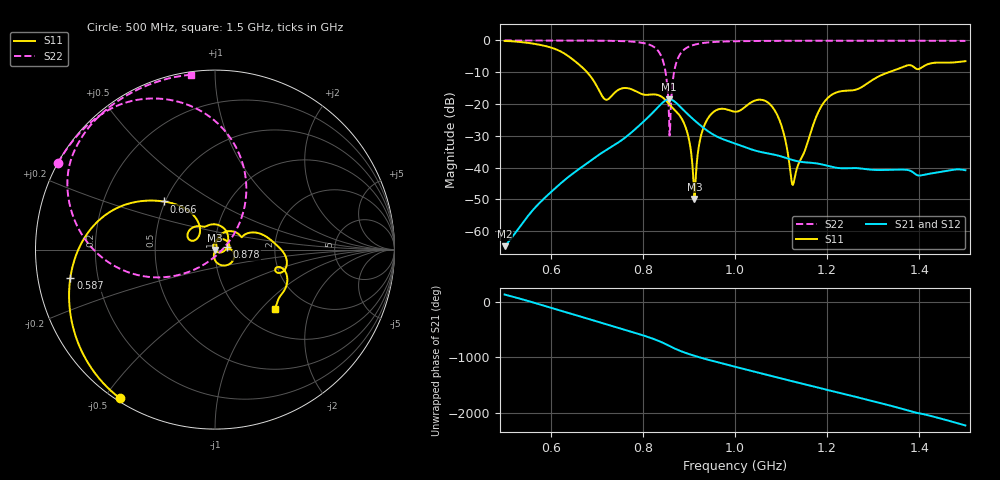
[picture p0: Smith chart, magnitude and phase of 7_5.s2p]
! TOUCHSTONE file generated by CST MICROWAVE STUDIO
! Date and time: Fri Oct  2 19:08:53 2020
! Project name: Scenario_1_Free_Space_out_of_line.cst
! Parameters = {Lambda=346.42; Step_1=17.321; dy1=243.594; dx1=866; L_HA=400; MT=2.54; Rad_Dielectric=30; Rad_Lower=7.3; Rad_Upper=30; a_HA=580; a_WG=246; b_HA=500; b_WG=121; c_HA=0; c_WG=187; d_feed=85; h_feed=15; h_lower=18; h_upper=40}
! Header version: 2018
! Port assignment regex: !\s*Touchstone port\s*([0-9]+)\s*=\s*(CST MWS port|CST DS port)\s*([0-9]+|Zmin|Zmax)\s*\(\"(.*)\"\)(\s*mode\s*([0-9]+))?.*
! Touchstone port assignment:
! Touchstone port 1 = CST MWS port 1 ("")
! Touchstone port 2 = CST MWS port 2 ("")
# GHz S DB R 50
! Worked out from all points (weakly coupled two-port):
!   1003 points, 500 MHz to 1.5 GHz, reference 50 ohm
!   highest |S21| = -18.52 dB at 857 MHz (marker M1); lowest = -64.8 dB at 500 MHz (marker M2)
!   lowest |S11| = -49.9 dB at 912 MHz (marker M3), VSWR 1.01, Z = 49.8 - j0.207 ohm
!   |S11| at or under -10 dB: 679 MHz to 1.334 GHz (654.9 MHz wide, 65.1 % of centre)
!   |S22| runs from -29.9 to 0.0 dB; largest |S21 - S12| = 4.1e-06
!   S11 on the Smith chart (normalised r, x): 500 MHz: 0.01, -0.55; 587 MHz: 0.10, -0.10; 666 MHz: 0.49, +0.31; 878 MHz: 1.14, +0.03; 1.5 GHz: 1.40, -1.20
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0.5  -0.15 -122.5  -64.76 133.0  -64.76 133.0  -0.01 151.1
0.587  -1.71 -169.0  -49.57 -72.4  -49.57 -72.3  -0.02 145.1
0.666  -8.15 136.8  -40.01 91.6  -40.01 91.6  -0.04 138.4
0.667  -8.28 136.2  -39.90 89.1  -39.90 89.1  -0.04 138.3
0.719  -18.63 141.1  -34.65 -40.4  -34.65 -40.4  -0.10 132.4
0.79  -16.39 120.9  -27.08 143.9  -27.08 143.9  -0.56 116.9
0.834  -17.23 80.7  -20.85 15.6  -20.85 15.6  -3.43 86.1
0.847  -18.44 58.4  -19.09 -32.2  -19.09 -32.2  -8.21 63.3
0.857  -20.03 42.7  -18.52 -73.6  -18.52 -73.6  -24.82 16.0
0.878  -23.27 11.5  -20.42 -155.3  -20.42 -155.3  -5.04 -170.1
0.898  -29.84 -30.8  -23.29 143.3  -23.29 143.3  -2.09 169.6
0.912  -49.88 -139.6  -25.14 105.5  -25.14 105.5  -1.34 161.6
0.925  -30.73 105.3  -26.74 72.9  -26.74 72.9  -0.93 156.3
0.941  -24.59 71.6  -28.53 35.8  -28.53 35.8  -0.63 151.4
1  -22.44 2.8  -32.42 -91.3  -32.42 -91.3  -0.26 140.2
1.079  -20.57 -67.8  -35.76 102.0  -35.76 102.0  -0.14 131.6
1.103  -27.83 -98.7  -36.63 50.0  -36.63 50.0  -0.12 129.4
1.126  -45.42 -28.2  -37.68 2.4  -37.68 2.4  -0.11 127.5
1.167  -27.74 79.5  -38.54 -80.3  -38.54 -80.3  -0.10 124.1
1.207  -17.40 49.7  -39.70 -164.9  -39.70 -164.9  -0.09 121.1
1.334  -9.99 9.6  -40.74 -68.3  -40.73 -68.3  -0.09 111.4
1.5  -6.54 -45.0  -40.86 -73.4  -40.85 -73.4  -0.14 97.8
